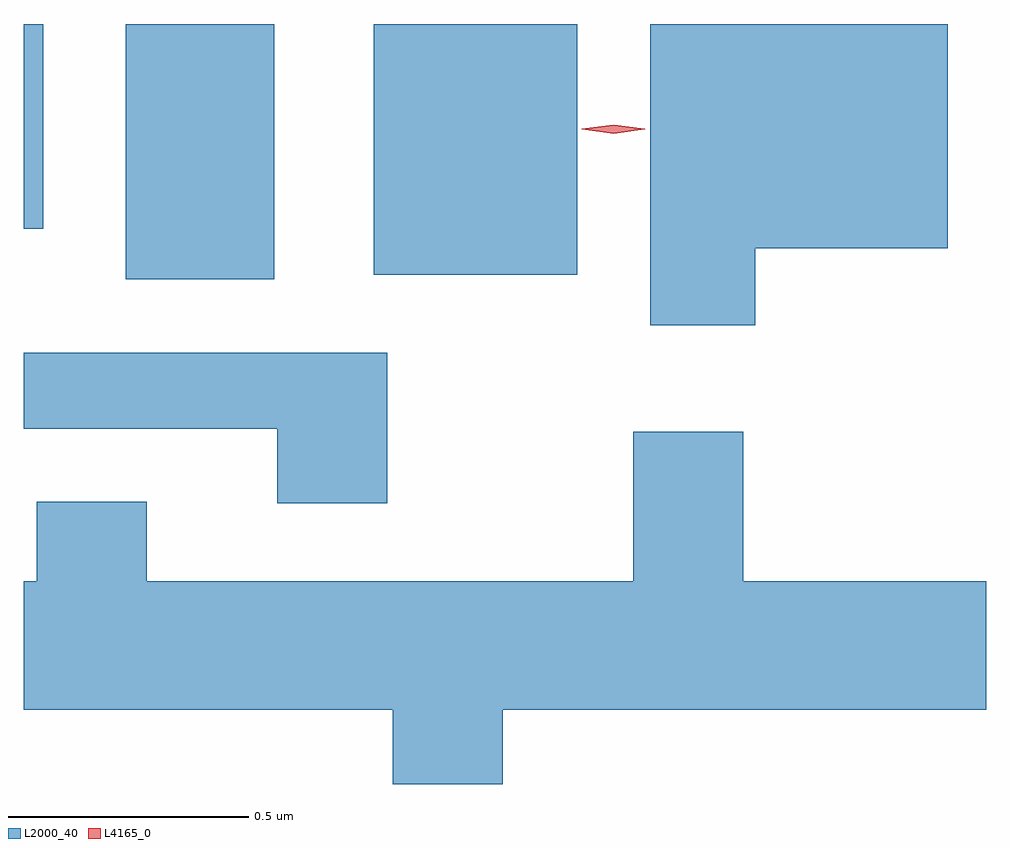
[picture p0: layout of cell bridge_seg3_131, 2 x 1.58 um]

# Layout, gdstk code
import gdstk
lib = gdstk.Library(unit=1e-6, precision=1e-09)
def R(c, l, rs):  # rectangles x0, y0, x1, y1
    for r in rs: c.add(gdstk.rectangle(r[:2], r[2:], *l))
def P(c, l, *ps):  # polygons
    for p in ps: c.add(gdstk.Polygon(p, *l))
L2000_40 = (2000, 40)
L4165_0 = (4165, 0)

bridge_seg3_131 = lib.new_cell('bridge_seg3_131')
R(bridge_seg3_131, L2000_40, [(745.876,1253.451,746.184,1253.982), (746.391,1253.461,746.814,1253.982), (745.664,1253.556,745.704,1253.982)])
P(bridge_seg3_131, L2000_40, [(747.184,1253.516),(747.584,1253.516),(747.584,1253.982),(746.966,1253.982),(746.966,1253.356),(747.184,1253.356)],
  [(746.419,1253.299),(745.664,1253.299),(745.664,1253.141),(746.191,1253.141),(746.191,1252.986),(746.419,1252.986)],
  [(745.919,1252.989),(745.691,1252.989),(745.691,1252.824),(745.664,1252.824),(745.664,1252.556),(746.431,1252.556),(746.431,1252.402),(746.659,1252.402),(746.659,1252.556),(747.664,1252.556),(747.664,1252.824),(747.159,1252.824),(747.159,1253.134),(746.931,1253.134),(746.931,1252.824),(745.919,1252.824)])
P(bridge_seg3_131, L4165_0, [(746.89,1253.754),(746.824,1253.763),(746.824,1253.764),(746.824,1253.764),(746.89,1253.773),(746.955,1253.764),(746.956,1253.763),(746.955,1253.763)])

lib.write_gds('bridge_seg3_131.gds')
